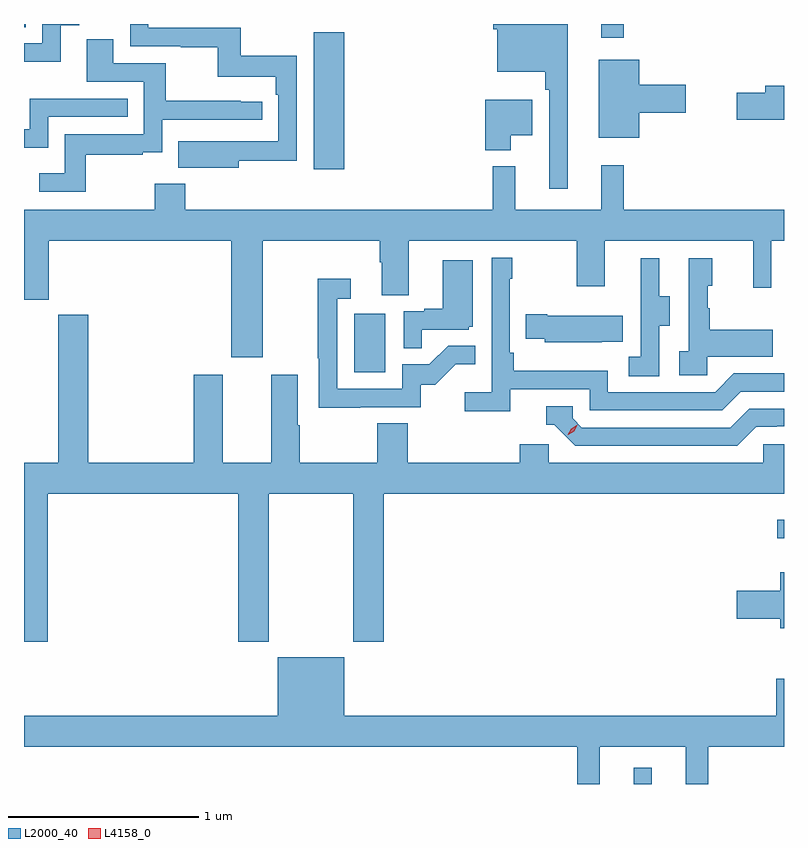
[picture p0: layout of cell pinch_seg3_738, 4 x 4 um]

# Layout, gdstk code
import gdstk
lib = gdstk.Library(unit=1e-6, precision=1e-09)
def R(c, l, rs):  # rectangles x0, y0, x1, y1
    for r in rs: c.add(gdstk.rectangle(r[:2], r[2:], *l))
def P(c, l, *ps):  # polygons
    for p in ps: c.add(gdstk.Polygon(p, *l))
L2000_40 = (2000, 40)
L4158_0 = (4158, 0)

pinch_seg3_738 = lib.new_cell('pinch_seg3_738')
R(pinch_seg3_738, L2000_40, [(864.759,742.013,864.856,742.099), (865.515,743.307,865.551,743.404), (863.288,744.18,863.452,744.487), (863.075,745.248,863.236,745.969), (864.59,745.941,864.707,746.013), (861.551,745.996,861.559,746.013)])
P(pinch_seg3_738, L2000_40, [(861.745,746.007),(861.841,746.007),(861.841,746.013),(861.648,746.013),(861.648,745.911),(861.551,745.911),(861.551,745.814),(861.745,745.814)],
  [(864.412,746.013),(864.022,746.013),(864.022,745.985),(864.042,745.985),(864.042,745.763),(864.295,745.763),(864.295,745.667),(864.315,745.667),(864.315,745.146),(864.412,745.146)],
  [(862.681,745.294),(862.986,745.294),(862.986,745.846),(862.693,745.846),(862.693,745.992),(862.206,745.992),(862.206,746.013),(862.11,746.013),(862.11,745.896),(862.375,745.896),(862.375,745.891),(862.572,745.891),(862.572,745.736),(862.877,745.736),(862.877,745.64),(862.89,745.64),(862.89,745.395),(862.577,745.395),(862.577,745.396),(862.363,745.396),(862.363,745.256),(862.681,745.256)],
  [(861.877,745.326),(862.175,745.326),(862.175,745.337),(862.278,745.337),(862.278,745.509),(862.804,745.509),(862.804,745.605),(862.691,745.605),(862.691,745.61),(862.298,745.61),(862.298,745.806),(862.021,745.806),(862.021,745.934),(861.881,745.934),(861.881,745.71),(862.182,745.71),(862.182,745.434),(861.766,745.434),(861.766,745.228),(861.631,745.228),(861.631,745.131),(861.877,745.131)],
  [(864.79,745.547),(865.033,745.547),(865.033,745.694),(864.79,745.694),(864.79,745.825),(864.575,745.825),(864.575,745.415),(864.79,745.415)],
  [(865.551,745.688),(865.451,745.688),(865.451,745.652),(865.302,745.652),(865.302,745.51),(865.551,745.51)],
  [(861.678,745.524),(862.097,745.524),(862.097,745.62),(861.582,745.62),(861.582,745.459),(861.551,745.459),(861.551,745.361),(861.678,745.361)],
  [(864.112,745.427),(864.226,745.427),(864.226,745.615),(863.978,745.615),(863.978,745.349),(864.112,745.349)],
  [(862.807,744.872),(863.423,744.872),(863.423,744.76),(863.435,744.76),(863.435,744.586),(863.575,744.586),(863.575,744.872),(864.46,744.872),(864.46,744.633),(864.607,744.633),(864.607,744.872),(865.388,744.872),(865.388,744.624),(865.485,744.624),(865.485,744.872),(865.551,744.872),(865.551,745.036),(864.707,745.036),(864.707,745.27),(864.59,745.27),(864.59,745.036),(864.137,745.036),(864.137,745.264),(864.019,745.264),(864.019,745.036),(862.4,745.036),(862.4,745.171),(862.24,745.171),(862.24,745.036),(861.551,745.036),(861.551,744.563),(861.682,744.563),(861.682,744.872),(862.643,744.872),(862.643,744.258),(862.807,744.258)],
  [(864.11,744.09),(864.528,744.09),(864.528,743.979),(865.225,743.979),(865.324,744.078),(865.551,744.078),(865.551,744.174),(865.287,744.174),(865.188,744.075),(864.624,744.075),(864.624,744.187),(864.128,744.187),(864.128,744.283),(864.108,744.283),(864.108,744.671),(864.121,744.671),(864.121,744.784),(864.012,744.784),(864.012,744.076),(863.871,744.076),(863.871,743.974),(864.11,743.974)],
  [(864.894,744.424),(864.949,744.424),(864.949,744.579),(864.895,744.579),(864.895,744.781),(864.797,744.781),(864.797,744.567),(864.798,744.567),(864.798,744.263),(864.735,744.263),(864.735,744.16),(864.894,744.16)],
  [(865.146,744.263),(865.493,744.263),(865.493,744.403),(865.159,744.403),(865.159,744.518),(865.149,744.518),(865.149,744.636),(865.174,744.636),(865.174,744.781),(865.05,744.781),(865.05,744.29),(864.999,744.29),(864.999,744.165),(865.146,744.165)],
  [(863.645,744.405),(863.892,744.405),(863.892,744.42),(863.914,744.42),(863.914,744.769),(863.756,744.769),(863.756,744.514),(863.657,744.514),(863.657,744.501),(863.55,744.501),(863.55,744.307),(863.645,744.307)],
  [(863.321,743.997),(863.64,743.997),(863.64,744.114),(863.716,744.114),(863.823,744.221),(863.927,744.221),(863.927,744.32),(863.783,744.32),(863.685,744.222),(863.541,744.222),(863.541,744.093),(863.199,744.093),(863.199,744.567),(863.272,744.567),(863.272,744.673),(863.098,744.673),(863.098,744.253),(863.103,744.253),(863.103,743.992),(863.321,743.992)],
  [(864.593,744.341),(864.701,744.341),(864.701,744.478),(864.304,744.478),(864.304,744.486),(864.193,744.486),(864.193,744.356),(864.291,744.356),(864.291,744.338),(864.593,744.338)],
  [(862.679,742.761),(862.839,742.761),(862.839,743.54),(863.284,743.54),(863.284,742.761),(863.444,742.761),(863.444,743.54),(865.551,743.54),(865.551,743.802),(865.443,743.802),(865.443,743.704),(864.312,743.704),(864.312,743.802),(864.161,743.802),(864.161,743.704),(863.57,743.704),(863.57,743.912),(863.41,743.912),(863.41,743.704),(863.001,743.704),(863.001,743.9),(862.993,743.9),(862.993,744.166),(862.853,744.166),(862.853,743.704),(862.597,743.704),(862.597,744.166),(862.445,744.166),(862.445,743.704),(861.89,743.704),(861.89,744.484),(861.73,744.484),(861.73,743.704),(861.551,743.704),(861.551,742.761),(861.677,742.761),(861.677,743.54),(862.679,743.54)],
  [(865.405,743.892),(865.512,743.892),(865.512,743.895),(865.551,743.895),(865.551,743.988),(865.368,743.988),(865.269,743.889),(864.486,743.889),(864.438,743.937),(864.438,744),(864.299,744),(864.299,743.904),(864.342,743.904),(864.453,743.793),(865.306,743.793)],
  [(865.551,743.128),(865.532,743.128),(865.532,743.03),(865.302,743.03),(865.302,742.883),(865.532,742.883),(865.532,742.832),(865.551,742.832)],
  [(864.581,742.208),(865.034,742.208),(865.034,742.013),(865.151,742.013),(865.151,742.208),(865.551,742.208),(865.551,742.567),(865.511,742.567),(865.511,742.372),(863.236,742.372),(863.236,742.681),(862.886,742.681),(862.886,742.372),(861.551,742.372),(861.551,742.208),(864.463,742.208),(864.463,742.013),(864.581,742.013)])
P(pinch_seg3_738, L4158_0, [(864.414,743.851),(864.414,743.852),(864.431,743.884),(864.462,743.903),(864.462,743.903),(864.462,743.903),(864.446,743.87),(864.415,743.851)])

lib.write_gds('pinch_seg3_738.gds')
